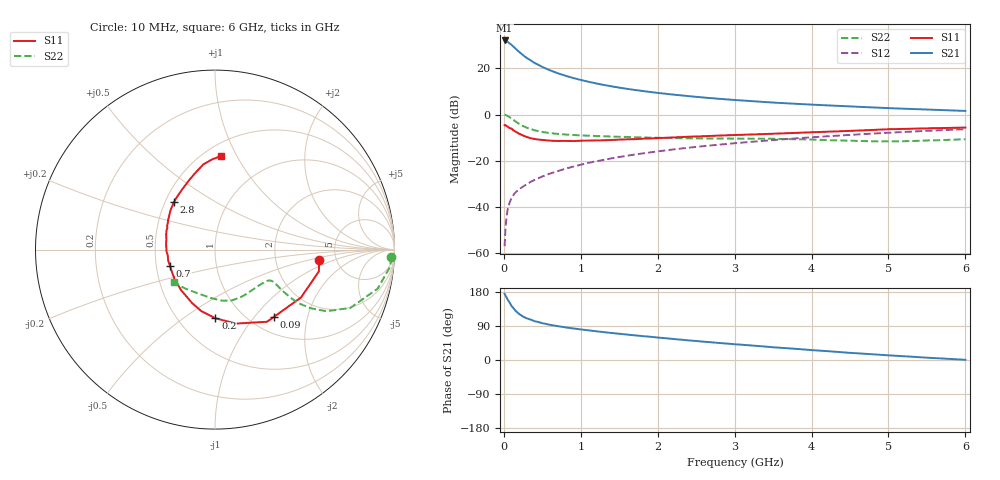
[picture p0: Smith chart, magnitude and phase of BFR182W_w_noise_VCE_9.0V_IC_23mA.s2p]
! Infineon Technologies  Discrete & RF Semiconductors
! BFR182W
! VCE =  9.0 V,  IC =  23 mA
! Common Emitter S-Parameters:  Jan 2017
# GHz  S  MA  R  50
!  f  S11  S21  S12  S22
! GHz  MAG  ANG  MAG  ANG  MAG  ANG  MAG  ANG
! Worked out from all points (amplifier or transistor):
!   77 points, 10 MHz to 6 GHz, reference 50 ohm
!   highest |S21| = 32.1 dB at 10 MHz (marker M1)
!   |S21| within 3 dB of that: start of sweep to 134.7 MHz
!   unconditionally stable (mu >= 1): 814.2 MHz to 2.326 GHz
!   at 130 MHz: K = 0.44, MSG = 32.0 dB, |S12| = -34.7 dB
!   at 2.2 GHz: K = 1.01, MAG = 11.4 dB, |S12| = -15.2 dB
!   at 6 GHz: K = 0.86, MSG = 4.0 dB, |S12| = -6.4 dB
!   lowest NFmin = 1.50 dB at 450 MHz
!   S11 on the Smith chart (normalised r, x): 10 MHz: 3.67, -0.63; 90 MHz: 1.27, -1.27; 200 MHz: 0.75, -0.67; 700 MHz: 0.59, -0.12; 2.8 GHz: 0.56, +0.33; 6 GHz: 0.60, +0.86
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0.01  0.5826 -5.6  40.3 174.6  0.0014 85.1  0.983 -2.5
0.02  0.5914 -11.8  40.23 170.9  0.0031 88.3  0.9804 -5.6
0.05  0.5486 -29.1  37.69 159.1  0.0087 75.3  0.9319 -13.5
0.09  0.4982 -48.8  33.23 146.2  0.0142 72.1  0.8413 -21.1
0.1  0.4958 -54.2  32.41 142.5  0.0156 71.6  0.8213 -23.3
0.15  0.4285 -74.1  27.02 130.2  0.0204 66.8  0.711 -28.9
0.2  0.3826 -89.7  22.67 121.4  0.0241 65.3  0.6258 -31.5
0.25  0.3505 -102.8  19.35 114.6  0.0274 65.3  0.5632 -32.5
0.3  0.324 -113.2  16.71 109.7  0.0311 65.7  0.5147 -32.6
0.4  0.295 -129.4  13.12 102.4  0.0383 67.0  0.4553 -31.7
0.5  0.281 -142.0  10.73 97.2  0.0453 68.9  0.4188 -30.7
0.6  0.2711 -151.7  9.091 92.9  0.0524 69.5  0.3959 -29.8
0.7  0.2668 -159.7  7.857 89.4  0.0592 70.6  0.38 -29.2
0.9  0.2653 -172.9  6.187 83.3  0.074 71.8  0.3602 -29.0
1.1  0.2718 177.1  5.127 78.3  0.0896 71.5  0.3476 -29.7
1.5  0.2856 162.2  3.825 69.3  0.1201 70.5  0.3289 -33.3
2.1  0.3129 145.6  2.82 57.5  0.1667 67.4  0.3107 -43.1
2.8  0.3497 130.9  2.189 44.9  0.222 62.6  0.3022 -57.7
3.1  0.3635 125.0  2.012 40.2  0.2464 60.1  0.2998 -63.8
4.1  0.4176 109.3  1.609 24.8  0.3288 51.8  0.2831 -84.4
5.1  0.4834 96.6  1.356 11.1  0.4104 42.4  0.2623 -114.5
6  0.522 86.6  1.197 0.5  0.4805 33.4  0.2925 -141.7
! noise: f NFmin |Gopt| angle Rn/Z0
0.45  1.5  0.14  -170  0.15
0.9  1.58  0.16  -165  0.16
1.9  2.1  0.31  -139  0.17
2.4  2.38  0.32  -127  0.27
